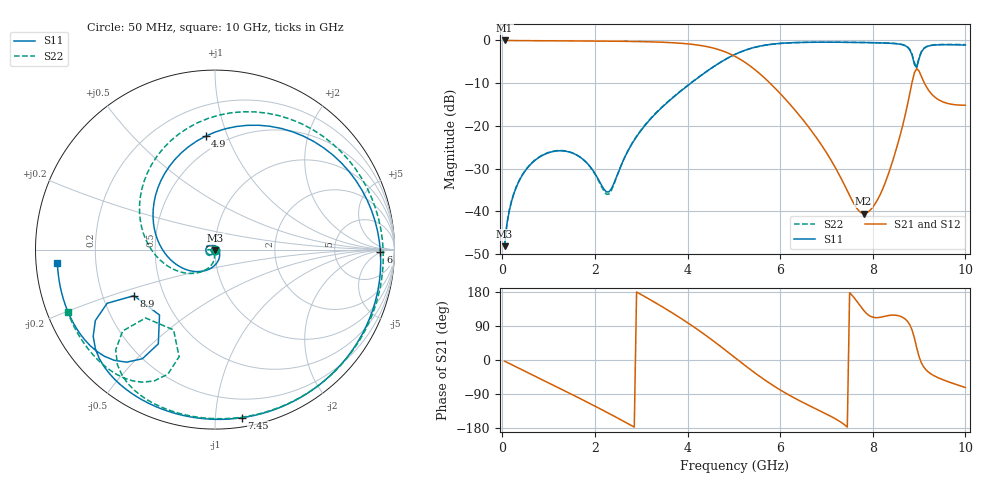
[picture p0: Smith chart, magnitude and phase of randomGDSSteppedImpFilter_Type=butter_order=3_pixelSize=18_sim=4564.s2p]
! freq	dB(S11)	phase(S11)	dB(S12)	phase(S12)
!  dB(S21)	phase(S21)	dB(S22)	phase(S22)
!S-par simulation data
#  GHz  S  DB  R 50
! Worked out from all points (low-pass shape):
!   200 points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, 50 MHz to 10 GHz, reference 50 ohm
!   highest |S21| = -0.02 dB at 50 MHz (marker M1); lowest = -40.5 dB at 7.8 GHz (marker M2)
!   |S21| within 3 dB of the highest: start of sweep to 4.886 GHz
!   lowest |S11| = -48.1 dB at 50 MHz (marker M3), VSWR 1.01, Z = 50.2 - j0.334 ohm
!   |S11| at or under -10 dB: start of sweep to 4.073 GHz
!   |S22| runs from -48.1 to -0.4 dB; largest |S21 - S12| = 0
!   S11 on the Smith chart (normalised r, x): 50 MHz: 1.00, -0.01; 4.9 GHz: 0.40, +0.84; 6 GHz: 24, -4; 7.45 GHz: 0.06, -1.17; 8.9 GHz: 0.34, -0.24; 10 GHz: 0.06, -0.04
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0.05  -48.15 -58.1  -0.02 -3.1  -0.02 -3.1  -48.10 -57.7
0.25  -35.86 -95.4  -0.05 -15.1  -0.05 -15.1  -35.76 -92.8
0.6  -29.14 -125.8  -0.08 -36.1  -0.08 -36.1  -29.04 -118.8
1.2  -25.85 -170.4  -0.12 -72.3  -0.12 -72.3  -25.79 -153.5
1.75  -27.90 144.1  -0.15 -106.1  -0.15 -106.1  -27.91 -177.6
2.3  -35.45 31.4  -0.19 -140.8  -0.19 -140.8  -35.98 -132.6
2.85  -23.34 -77.0  -0.26 -177.1  -0.26 -177.1  -23.24 -97.8
3.4  -16.18 -127.7  -0.42 144.4  -0.42 144.4  -16.07 -125.4
4.15  -9.36 165.8  -1.00 86.1  -1.00 86.1  -9.31 -176.9
4.9  -3.96 94.8  -3.09 18.1  -3.09 18.1  -3.97 117.1
5.05  -3.15 80.3  -3.89 3.7  -3.89 3.7  -3.17 102.7
5.5  -1.49 38.8  -7.25 -38.2  -7.25 -38.2  -1.52 60.0
6  -0.71 -0.8  -12.42 -78.8  -12.42 -78.8  -0.73 18.1
6.7  -0.44 -44.3  -21.52 -124.7  -21.52 -124.7  -0.45 -28.5
7.45  -0.46 -81.0  -35.19 -177.0  -35.19 -177.0  -0.45 -67.3
7.8  -0.51 -96.3  -40.51 131.6  -40.51 131.6  -0.49 -83.0
8.35  -0.67 -120.4  -30.86 117.6  -30.86 117.6  -0.64 -107.1
8.75  -1.59 -144.6  -15.04 102.0  -15.04 102.0  -1.50 -130.3
8.9  -5.69 -150.4  -7.52 57.5  -7.52 57.5  -5.31 -135.4
9  -4.25 -121.0  -7.20 8.6  -7.20 8.6  -4.02 -108.5
9.1  -1.96 -128.2  -9.66 -18.4  -9.66 -18.4  -1.87 -114.8
10  -1.10 -175.0  -15.17 -72.6  -15.17 -72.6  -1.00 -157.0
